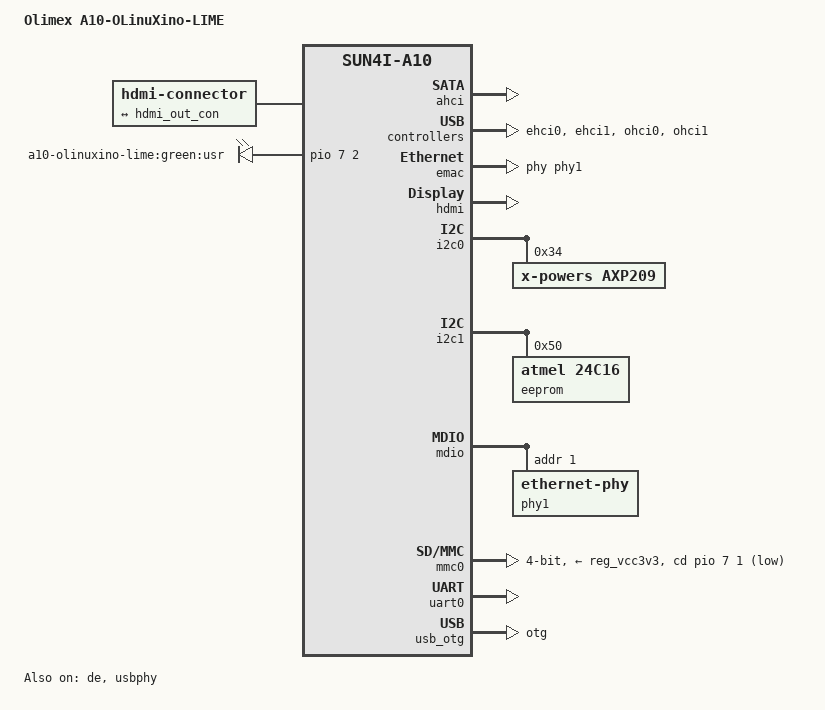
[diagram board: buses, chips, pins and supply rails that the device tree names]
/*
 * Copyright 2014 - Hans de Goede <hdegoede@redhat.com>
 *
 * This file is dual-licensed: you can use it either under the terms
 * of the GPL or the X11 license, at your option. Note that this dual
 * licensing only applies to this file, and not this project as a
 * whole.
 *
 *  a) This file is free software; you can redistribute it and/or
 *     modify it under the terms of the GNU General Public License as
 *     published by the Free Software Foundation; either version 2 of the
 *     License, or (at your option) any later version.
 *
 *     This file is distributed in the hope that it will be useful,
 *     but WITHOUT ANY WARRANTY; without even the implied warranty of
 *     MERCHANTABILITY or FITNESS FOR A PARTICULAR PURPOSE.  See the
 *     GNU General Public License for more details.
 *
 * Or, alternatively,
 *
 *  b) Permission is hereby granted, free of charge, to any person
 *     obtaining a copy of this software and associated documentation
 *     files (the "Software"), to deal in the Software without
 *     restriction, including without limitation the rights to use,
 *     copy, modify, merge, publish, distribute, sublicense, and/or
 *     sell copies of the Software, and to permit persons to whom the
 *     Software is furnished to do so, subject to the following
 *     conditions:
 *
 *     The above copyright notice and this permission notice shall be
 *     included in all copies or substantial portions of the Software.
 *
 *     THE SOFTWARE IS PROVIDED "AS IS", WITHOUT WARRANTY OF ANY KIND,
 *     EXPRESS OR IMPLIED, INCLUDING BUT NOT LIMITED TO THE WARRANTIES
 *     OF MERCHANTABILITY, FITNESS FOR A PARTICULAR PURPOSE AND
 *     NONINFRINGEMENT. IN NO EVENT SHALL THE AUTHORS OR COPYRIGHT
 *     HOLDERS BE LIABLE FOR ANY CLAIM, DAMAGES OR OTHER LIABILITY,
 *     WHETHER IN AN ACTION OF CONTRACT, TORT OR OTHERWISE, ARISING
 *     FROM, OUT OF OR IN CONNECTION WITH THE SOFTWARE OR THE USE OR
 *     OTHER DEALINGS IN THE SOFTWARE.
 */

/dts-v1/;
#include "sun4i-a10.dtsi"
#include "sunxi-common-regulators.dtsi"

#include <dt-bindings/gpio/gpio.h>

/ {
	model = "Olimex A10-OLinuXino-LIME";
	compatible = "olimex,a10-olinuxino-lime", "allwinner,sun4i-a10";

	aliases {
		serial0 = &uart0;
	};

	chosen {
		stdout-path = "serial0:115200n8";
	};

	hdmi-connector {
		compatible = "hdmi-connector";
		type = "a";

		port {
			hdmi_con_in: endpoint {
				remote-endpoint = <&hdmi_out_con>;
			};
		};
	};

	leds {
		compatible = "gpio-leds";
		pinctrl-names = "default";
		pinctrl-0 = <&led_pins_olinuxinolime>;

		green {
			label = "a10-olinuxino-lime:green:usr";
			gpios = <&pio 7 2 GPIO_ACTIVE_HIGH>;
			default-state = "on";
		};
	};
};

&ahci {
	target-supply = <&reg_ahci_5v>;
	status = "okay";
};

&cpu0 {
	/*
	 * The A10-Lime is known to be unstable when running at 1008 MHz
	 */
	operating-points = <
		/* kHz    uV */
		912000  1350000
		864000  1300000
		624000  1250000
		>;
	cooling-max-level = <2>;
};

&de {
	status = "okay";
};

&ehci0 {
	status = "okay";
};

&ehci1 {
	status = "okay";
};

&emac {
	phy = <&phy1>;
	status = "okay";
};

&emac_sram {
	status = "okay";
};

&hdmi {
	status = "okay";
};

&hdmi_out {
	hdmi_out_con: endpoint {
		remote-endpoint = <&hdmi_con_in>;
	};
};

&i2c0 {
	status = "okay";

	axp209: pmic@34 {
		compatible = "x-powers,axp209";
		reg = <0x34>;
		interrupts = <0>;

		interrupt-controller;
		#interrupt-cells = <1>;
	};
};

&i2c1 {
	status = "okay";

	eeprom: eeprom@50 {
		compatible = "atmel,24c16";
		reg = <0x50>;
		pagesize = <16>;
	};
};

&mdio {
	status = "okay";

	phy1: ethernet-phy@1 {
		reg = <1>;
	};
};

&mmc0 {
	vmmc-supply = <&reg_vcc3v3>;
	bus-width = <4>;
	cd-gpios = <&pio 7 1 GPIO_ACTIVE_HIGH>; /* PH1 */
	cd-inverted;
	status = "okay";
};

&ohci0 {
	status = "okay";
};

&ohci1 {
	status = "okay";
};

&otg_sram {
	status = "okay";
};

&pio {
	led_pins_olinuxinolime: led-pin {
		pins = "PH2";
		function = "gpio_out";
		drive-strength = <20>;
	};

	usb0_id_detect_pin: usb0-id-detect-pin {
		pins = "PH4";
		function = "gpio_in";
		bias-pull-up;
	};

	usb0_vbus_detect_pin: usb0-vbus-detect-pin {
		pins = "PH5";
		function = "gpio_in";
		bias-pull-down;
	};
};

&reg_ahci_5v {
	gpio = <&pio 2 3 GPIO_ACTIVE_HIGH>;
	status = "okay";
};

&reg_usb0_vbus {
	status = "okay";
};

&reg_usb1_vbus {
	status = "okay";
};

&reg_usb2_vbus {
	status = "okay";
};

&uart0 {
	pinctrl-names = "default";
	pinctrl-0 = <&uart0_pb_pins>;
	status = "okay";
};

&usb_otg {
	dr_mode = "otg";
	status = "okay";
};

&usbphy {
	pinctrl-names = "default";
	pinctrl-0 = <&usb0_id_detect_pin>, <&usb0_vbus_detect_pin>;
	usb0_id_det-gpio   = <&pio 7 4 GPIO_ACTIVE_HIGH>; /* PH4 */
	usb0_vbus_det-gpio = <&pio 7 5 GPIO_ACTIVE_HIGH>; /* PH5 */
	usb0_vbus-supply   = <&reg_usb0_vbus>;
	usb1_vbus-supply = <&reg_usb1_vbus>;
	usb2_vbus-supply = <&reg_usb2_vbus>;
	status = "okay";
};
